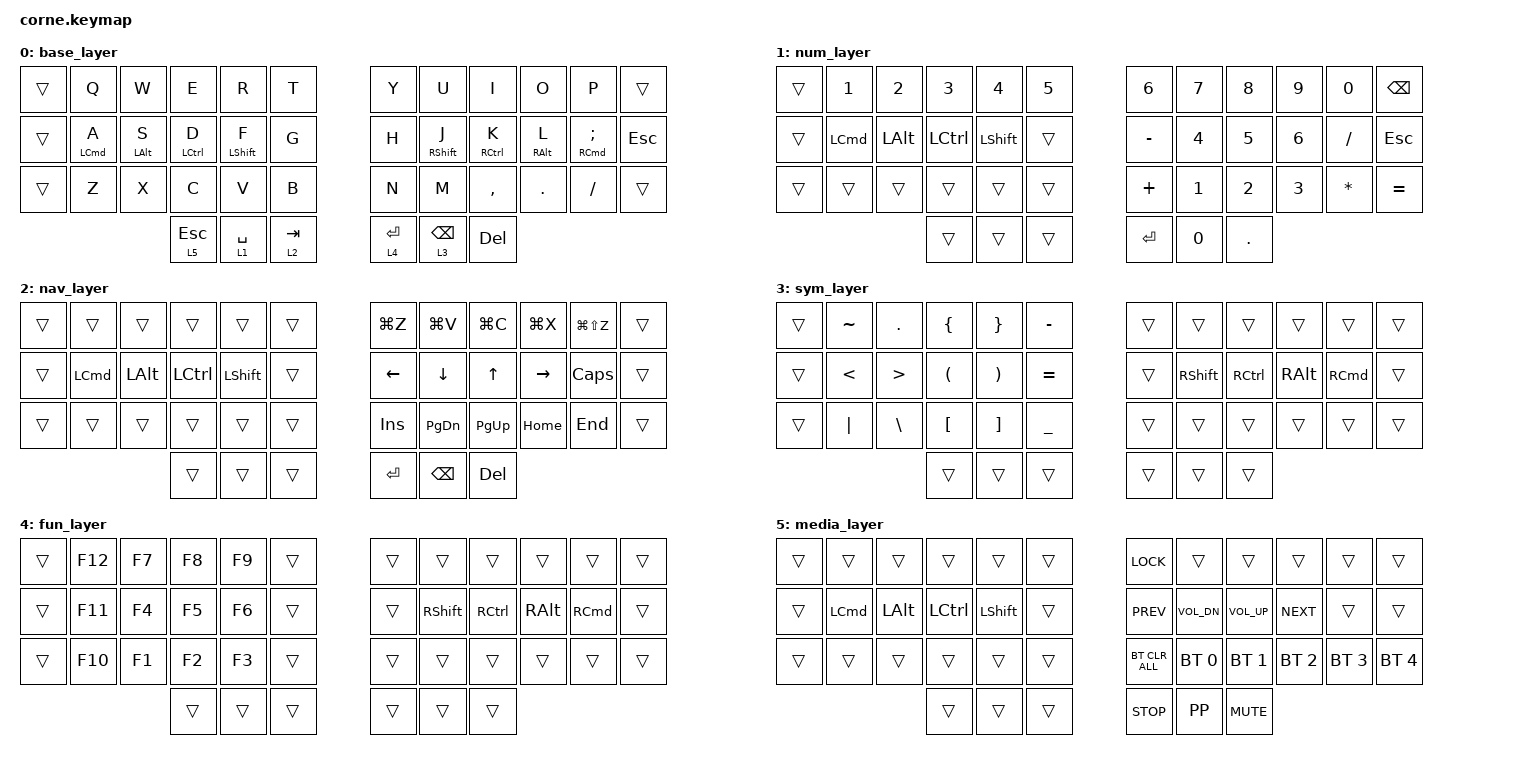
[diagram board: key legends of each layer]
/*
 * Copyright (c) 2020 The ZMK Contributors
 *
 * SPDX-License-Identifier: MIT
 */

#include <behaviors.dtsi>
#include <dt-bindings/zmk/bt.h>
#include <dt-bindings/zmk/keys.h>

/ {
    keymap {
        compatible = "zmk,keymap";

        base_layer {
            // -----------------------------------------------------------------------------------------
            // |  TAB |  Q  |  W  |  E  |  R  |  T  |   |  Y  |  U   |  I  |  O  |  P  | BKSP |
            // | CTRL |  A  |  S  |  D  |  F  |  G  |   |  H  |  J   |  K  |  L  |  ;  |  '   |
            // | SHFT |  Z  |  X  |  C  |  V  |  B  |   |  N  |  M   |  ,  |  .  |  /  | ESC  |
            //                    | GUI | LWR | SPC |   | ENT | RSE  | ALT |

            bindings = <
&trans  &kp Q       &kp W           &kp E               &kp R             &kp T        &kp Y      &kp U              &kp I                &kp O            &kp P          &trans
&trans  &mt LCMD A  &mt LEFT_ALT S  &mt LEFT_CONTROL D  &mt LEFT_SHIFT F  &kp G        &kp H      &mt RIGHT_SHIFT J  &mt RIGHT_CONTROL K  &mt RIGHT_ALT L  &mt RCMD SEMI  &kp ESCAPE
&trans  &kp Z       &kp X           &kp C               &kp V             &kp B        &kp N      &kp M              &kp COMMA            &kp DOT          &kp FSLH       &trans
                                    &lt 5 ESCAPE        &lt 1 SPACE       &lt 2 TAB    &lt 4 RET  &lt 3 BACKSPACE    &kp DEL
            >;
        };

        num_layer {
            // -----------------------------------------------------------------------------------------
            // |  TAB |  1  |  2  |  3  |  4  |  5  |   |  6  |  7  |  8  |  9  |  0  | BKSP |
            // | BTCLR| BT1 | BT2 | BT3 | BT4 | BT5 |   | LFT | DWN |  UP | RGT |     |      |
            // | SHFT |     |     |     |     |     |   |     |     |     |     |     |      |
            //                    | GUI |     | SPC |   | ENT |     | ALT |

            bindings = <
&trans  &kp N1    &kp N2        &kp N3            &kp N4          &kp N5    &kp N6     &kp NUMBER_7  &kp NUMBER_8  &kp NUMBER_9  &kp N0        &kp BSPC
&trans  &kp LCMD  &kp LEFT_ALT  &kp LEFT_CONTROL  &kp LEFT_SHIFT  &trans    &kp MINUS  &kp NUMBER_4  &kp NUMBER_5  &kp NUMBER_6  &kp SLASH     &kp ESCAPE
&trans  &trans    &trans        &trans            &trans          &trans    &kp PLUS   &kp NUMBER_1  &kp NUMBER_2  &kp NUMBER_3  &kp ASTERISK  &kp EQUAL
                                &trans            &trans          &trans    &kp RET    &kp NUMBER_0  &kp PERIOD
            >;
        };

        nav_layer {
            // -----------------------------------------------------------------------------------------
            // |  TAB |  !  |  @  |  #  |  $  |  %  |   |  ^  |  &  |  *  |  (  |  )  | BKSP |
            // | CTRL |     |     |     |     |     |   |  -  |  =  |  [  |  ]  |  \  |  `   |
            // | SHFT |     |     |     |     |     |   |  _  |  +  |  {  |  }  | "|" |  ~   |
            //                    | GUI |     | SPC |   | ENT |     | ALT |

            bindings = <
&trans  &trans    &trans        &trans            &trans          &trans    &kp LG(Z)       &kp LG(V)      &kp LG(C)    &kp LG(X)  &kp LG(LS(Z))  &trans
&trans  &kp LCMD  &kp LEFT_ALT  &kp LEFT_CONTROL  &kp LEFT_SHIFT  &trans    &kp LEFT_ARROW  &kp DOWN       &kp UP       &kp RIGHT  &kp CAPS       &trans
&trans  &trans    &trans        &trans            &trans          &trans    &kp INSERT      &kp PAGE_DOWN  &kp PAGE_UP  &kp HOME   &kp END        &trans
                                &trans            &trans          &trans    &kp RET         &kp BSPC       &kp DEL
            >;
        };

        sym_layer {
            bindings = <
&trans  &kp TILDE      &kp PERIOD        &kp LEFT_BRACE        &kp RIGHT_BRACE        &kp MINUS         &trans  &trans           &trans             &trans         &trans    &trans
&trans  &kp LESS_THAN  &kp GREATER_THAN  &kp LEFT_PARENTHESIS  &kp RIGHT_PARENTHESIS  &kp EQUAL         &trans  &kp RIGHT_SHIFT  &kp RIGHT_CONTROL  &kp RIGHT_ALT  &kp RCMD  &trans
&trans  &kp PIPE       &kp BACKSLASH     &kp LEFT_BRACKET      &kp RIGHT_BRACKET      &kp UNDERSCORE    &trans  &trans           &trans             &trans         &trans    &trans
                                         &trans                &trans                 &trans            &trans  &trans           &trans
            >;
        };

        fun_layer {
            bindings = <
&trans  &kp F12  &kp F7  &kp F8  &kp F9  &trans    &trans  &trans           &trans             &trans         &trans    &trans
&trans  &kp F11  &kp F4  &kp F5  &kp F6  &trans    &trans  &kp RIGHT_SHIFT  &kp RIGHT_CONTROL  &kp RIGHT_ALT  &kp RCMD  &trans
&trans  &kp F10  &kp F1  &kp F2  &kp F3  &trans    &trans  &trans           &trans             &trans         &trans    &trans
                         &trans  &trans  &trans    &trans  &trans           &trans
            >;
        };

        media_layer {
            bindings = <
&trans  &trans    &trans        &trans            &trans          &trans    &kp K_LOCK      &trans        &trans        &trans        &trans        &trans
&trans  &kp LCMD  &kp LEFT_ALT  &kp LEFT_CONTROL  &kp LEFT_SHIFT  &trans    &kp K_PREV      &kp C_VOL_DN  &kp C_VOL_UP  &kp K_NEXT    &trans        &trans
&trans  &trans    &trans        &trans            &trans          &trans    &bt BT_CLR_ALL  &bt BT_SEL 0  &bt BT_SEL 1  &bt BT_SEL 2  &bt BT_SEL 3  &bt BT_SEL 4
                                &trans            &trans          &trans    &kp K_STOP      &kp K_PP      &kp K_MUTE
            >;
        };
    };
};
